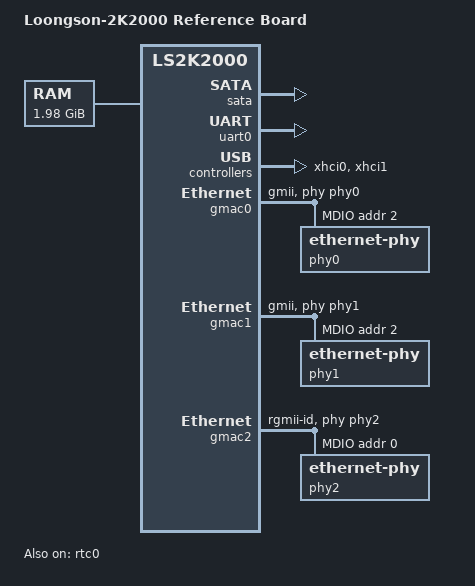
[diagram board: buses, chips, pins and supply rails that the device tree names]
// SPDX-License-Identifier: GPL-2.0
/*
 * Copyright (C) 2023 Loongson Technology Corporation Limited
 */

/dts-v1/;

#include "loongson-2k2000.dtsi"

/ {
	compatible = "loongson,ls2k2000-ref", "loongson,ls2k2000";
	model = "Loongson-2K2000 Reference Board";

	aliases {
		serial0 = &uart0;
	};

	chosen {
		stdout-path = "serial0:115200n8";
	};

	memory@200000 {
		device_type = "memory";
		reg = <0x0 0x00200000 0x0 0x0ee00000>,
		      <0x0 0x90000000 0x0 0x70000000>;
	};

	reserved-memory {
		#address-cells = <2>;
		#size-cells = <2>;
		ranges;

		linux,cma {
			compatible = "shared-dma-pool";
			reusable;
			size = <0x0 0x2000000>;
			linux,cma-default;
		};
	};
};

&sata {
	status = "okay";
};

&uart0 {
	status = "okay";
};

&rtc0 {
	status = "okay";
};

&xhci0 {
	status = "okay";
};

&xhci1 {
	status = "okay";
};

&gmac0 {
	status = "okay";

	phy-mode = "gmii";
	phy-handle = <&phy0>;
	mdio {
		compatible = "snps,dwmac-mdio";
		#address-cells = <1>;
		#size-cells = <0>;
		phy0: ethernet-phy@0 {
			reg = <2>;
		};
	};
};

&gmac1 {
	status = "okay";

	phy-mode = "gmii";
	phy-handle = <&phy1>;
	mdio {
		compatible = "snps,dwmac-mdio";
		#address-cells = <1>;
		#size-cells = <0>;
		phy1: ethernet-phy@1 {
			reg = <2>;
		};
	};
};

&gmac2 {
	status = "okay";

	phy-mode = "rgmii-id";
	phy-handle = <&phy2>;
	mdio {
		compatible = "snps,dwmac-mdio";
		#address-cells = <1>;
		#size-cells = <0>;
		phy2: ethernet-phy@2 {
			reg = <0>;
		};
	};
};
